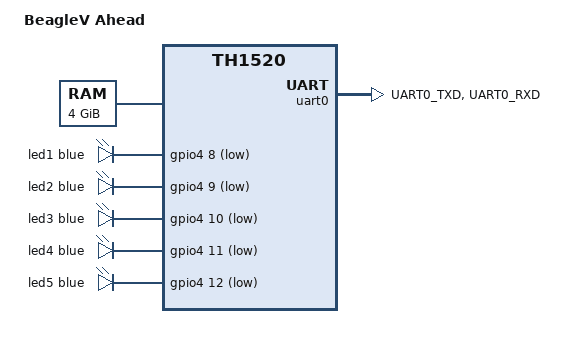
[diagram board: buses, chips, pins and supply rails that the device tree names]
// SPDX-License-Identifier: (GPL-2.0 OR MIT)
/*
 * Copyright (C) 2023 Jisheng Zhang <jszhang@kernel.org>
 * Copyright (C) 2023 Drew Fustini <dfustini@baylibre.com>
 */

/dts-v1/;

#include "th1520.dtsi"
#include <dt-bindings/gpio/gpio.h>
#include <dt-bindings/leds/common.h>

/ {
	model = "BeagleV Ahead";
	compatible = "beagle,beaglev-ahead", "thead,th1520";

	aliases {
		gpio0 = &gpio0;
		gpio1 = &gpio1;
		gpio2 = &gpio2;
		gpio3 = &gpio3;
		gpio4 = &gpio4;
		gpio5 = &aogpio;
		serial0 = &uart0;
		serial1 = &uart1;
		serial2 = &uart2;
		serial3 = &uart3;
		serial4 = &uart4;
		serial5 = &uart5;
	};

	chosen {
		stdout-path = "serial0:115200n8";
	};

	memory@0 {
		device_type = "memory";
		reg = <0x0  0x00000000  0x1 0x00000000>;
	};

	leds {
		pinctrl-names = "default";
		pinctrl-0 = <&led_pins>;
		compatible = "gpio-leds";

		led-1 {
			gpios = <&gpio4 8 GPIO_ACTIVE_LOW>;
			color = <LED_COLOR_ID_BLUE>;
			label = "led1";
		};

		led-2 {
			gpios = <&gpio4 9 GPIO_ACTIVE_LOW>;
			color = <LED_COLOR_ID_BLUE>;
			label = "led2";
		};

		led-3 {
			gpios = <&gpio4 10 GPIO_ACTIVE_LOW>;
			color = <LED_COLOR_ID_BLUE>;
			label = "led3";
		};

		led-4 {
			gpios = <&gpio4 11 GPIO_ACTIVE_LOW>;
			color = <LED_COLOR_ID_BLUE>;
			label = "led4";
		};

		led-5 {
			gpios = <&gpio4 12 GPIO_ACTIVE_LOW>;
			color = <LED_COLOR_ID_BLUE>;
			label = "led5";
		};
	};
};

&osc {
	clock-frequency = <24000000>;
};

&osc_32k {
	clock-frequency = <32768>;
};

&aonsys_clk {
	clock-frequency = <73728000>;
};

&apb_clk {
	clock-frequency = <62500000>;
};

&uart_sclk {
	clock-frequency = <100000000>;
};

&dmac0 {
	status = "okay";
};

&padctrl_aosys {
	led_pins: led-0 {
		led-pins {
			pins = "AUDIO_PA8",  /* GPIO4_8 */
			       "AUDIO_PA9",  /* GPIO4_9 */
			       "AUDIO_PA10", /* GPIO4_10 */
			       "AUDIO_PA11", /* GPIO4_11 */
			       "AUDIO_PA12"; /* GPIO4_12 */
			function = "gpio";
			bias-disable;
			drive-strength = <3>;
			input-disable;
			input-schmitt-disable;
			slew-rate = <0>;
		};
	};
};

&padctrl0_apsys {
	uart0_pins: uart0-0 {
		tx-pins {
			pins = "UART0_TXD";
			function = "uart";
			bias-disable;
			drive-strength = <3>;
			input-disable;
			input-schmitt-disable;
			slew-rate = <0>;
		};

		rx-pins {
			pins = "UART0_RXD";
			function = "uart";
			bias-disable;
			drive-strength = <1>;
			input-enable;
			input-schmitt-enable;
			slew-rate = <0>;
		};
	};
};

&uart0 {
	pinctrl-names = "default";
	pinctrl-0 = <&uart0_pins>;
	status = "okay";
};
